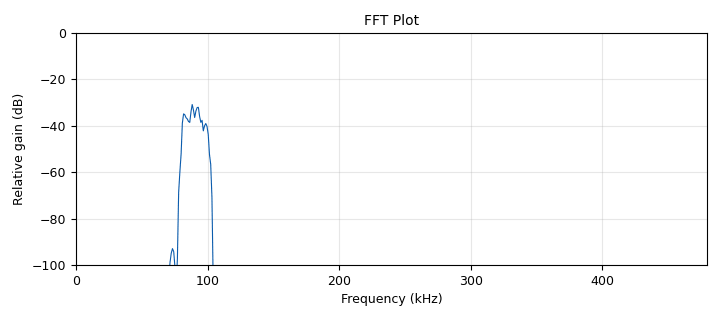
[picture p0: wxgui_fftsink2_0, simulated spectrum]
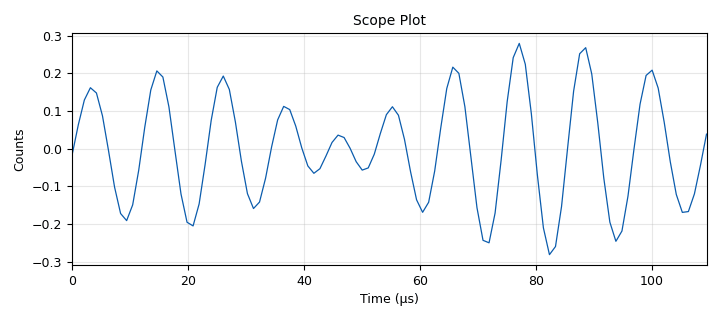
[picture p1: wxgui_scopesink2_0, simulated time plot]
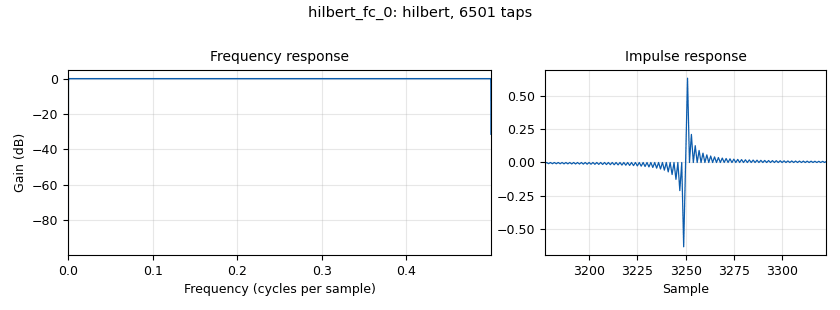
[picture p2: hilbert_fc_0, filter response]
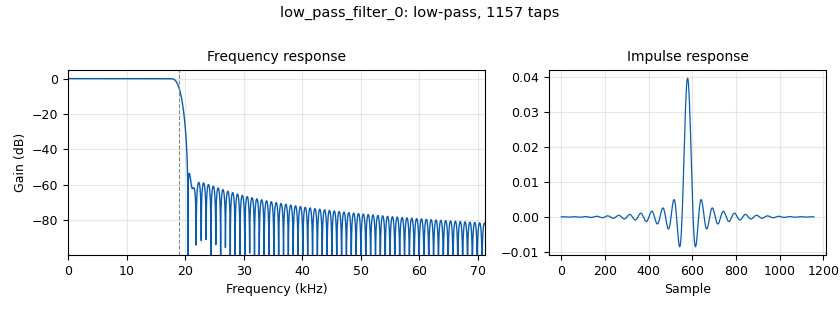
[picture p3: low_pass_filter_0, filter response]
<?xml version='1.0' encoding='utf-8'?>
<?grc format='1' created='3.7.9'?>
<flow_graph>
<block>
<key>options</key>
<param><key>id</key><value>top_block</value></param>
<param><key>category</key><value>Custom</value></param>
<param><key>generate_options</key><value>wx_gui</value></param>
</block>
<block>
<key>variable</key>
<param><key>id</key><value>carrier_f</value></param>
<param><key>value</key><value>100e3</value></param>
</block>
<block>
<key>variable</key>
<param><key>id</key><value>samp_rate</value></param>
<param><key>value</key><value>960000</value></param>
</block>
<block>
<key>analog_noise_source_x</key>
<param><key>id</key><value>analog_noise_source_x_0</value></param>
<param><key>amp</key><value>1</value></param>
<param><key>noise_type</key><value>analog.GR_GAUSSIAN</value></param>
<param><key>type</key><value>complex</value></param>
<param><key>seed</key><value>0</value></param>
</block>
<block>
<key>analog_sig_source_x</key>
<param><key>id</key><value>analog_sig_source_x_0</value></param>
<param><key>amp</key><value>1</value></param>
<param><key>freq</key><value>carrier_f</value></param>
<param><key>offset</key><value>0</value></param>
<param><key>type</key><value>float</value></param>
<param><key>samp_rate</key><value>samp_rate</value></param>
<param><key>waveform</key><value>analog.GR_COS_WAVE</value></param>
</block>
<block>
<key>analog_sig_source_x</key>
<param><key>id</key><value>analog_sig_source_x_1</value></param>
<param><key>amp</key><value>1</value></param>
<param><key>freq</key><value>carrier_f</value></param>
<param><key>offset</key><value>0</value></param>
<param><key>type</key><value>float</value></param>
<param><key>samp_rate</key><value>samp_rate</value></param>
<param><key>waveform</key><value>analog.GR_SIN_WAVE</value></param>
</block>
<block>
<key>blocks_add_xx</key>
<param><key>id</key><value>blocks_add_xx_0</value></param>
<param><key>type</key><value>float</value></param>
</block>
<block>
<key>blocks_complex_to_float</key>
<param><key>id</key><value>blocks_complex_to_float_0</value></param>
</block>
<block>
<key>blocks_complex_to_float</key>
<param><key>id</key><value>blocks_complex_to_float_1</value></param>
</block>
<block>
<key>blocks_multiply_xx</key>
<param><key>id</key><value>blocks_multiply_xx_0</value></param>
<param><key>type</key><value>float</value></param>
</block>
<block>
<key>blocks_multiply_xx</key>
<param><key>id</key><value>blocks_multiply_xx_1</value></param>
<param><key>type</key><value>float</value></param>
</block>
<block>
<key>hilbert_fc</key>
<param><key>id</key><value>hilbert_fc_0</value></param>
<param><key>num_taps</key><value>6500</value></param>
<param><key>win</key><value>firdes.WIN_HAMMING</value></param>
</block>
<block>
<key>low_pass_filter</key>
<param><key>id</key><value>low_pass_filter_0</value></param>
<param><key>cutoff_freq</key><value>19e3</value></param>
<param><key>decim</key><value>1</value></param>
<param><key>type</key><value>fir_filter_ccf</value></param>
<param><key>gain</key><value>1</value></param>
<param><key>samp_rate</key><value>samp_rate</value></param>
<param><key>width</key><value>2e3</value></param>
<param><key>win</key><value>firdes.WIN_HAMMING</value></param>
</block>
<block>
<key>notebook</key>
<param><key>id</key><value>notebook_0</value></param>
<param><key>labels</key><value>['scope', 'fft']</value></param>
<param><key>style</key><value>wx.NB_TOP</value></param>
</block>
<block>
<key>wxgui_fftsink2</key>
<param><key>id</key><value>wxgui_fftsink2_0</value></param>
<param><key>avg_alpha</key><value>0</value></param>
<param><key>average</key><value>False</value></param>
<param><key>baseband_freq</key><value>0</value></param>
<param><key>fft_size</key><value>1024</value></param>
<param><key>freqvar</key><value>None</value></param>
<param><key>notebook</key><value>notebook_0,1</value></param>
<param><key>peak_hold</key><value>False</value></param>
<param><key>ref_level</key><value>0</value></param>
<param><key>ref_scale</key><value>2.0</value></param>
<param><key>fft_rate</key><value>15</value></param>
<param><key>samp_rate</key><value>samp_rate</value></param>
<param><key>title</key><value>FFT Plot</value></param>
<param><key>type</key><value>float</value></param>
<param><key>win</key><value>window.flattop</value></param>
<param><key>y_divs</key><value>10</value></param>
<param><key>y_per_div</key><value>10</value></param>
</block>
<block>
<key>wxgui_scopesink2</key>
<param><key>id</key><value>wxgui_scopesink2_0</value></param>
<param><key>ac_couple</key><value>False</value></param>
<param><key>notebook</key><value>notebook_0,0</value></param>
<param><key>num_inputs</key><value>1</value></param>
<param><key>samp_rate</key><value>samp_rate</value></param>
<param><key>t_scale</key><value>0</value></param>
<param><key>title</key><value>Scope Plot</value></param>
<param><key>trig_mode</key><value>wxgui.TRIG_MODE_AUTO</value></param>
<param><key>type</key><value>float</value></param>
<param><key>v_offset</key><value>0</value></param>
<param><key>v_scale</key><value>0</value></param>
<param><key>xy_mode</key><value>False</value></param>
<param><key>y_axis_label</key><value>Counts</value></param>
</block>
<connection><source_block_id>analog_noise_source_x_0</source_block_id><sink_block_id>low_pass_filter_0</sink_block_id><source_key>0</source_key><sink_key>0</sink_key></connection>
<connection><source_block_id>analog_sig_source_x_0</source_block_id><sink_block_id>blocks_multiply_xx_0</sink_block_id><source_key>0</source_key><sink_key>0</sink_key></connection>
<connection><source_block_id>analog_sig_source_x_1</source_block_id><sink_block_id>blocks_multiply_xx_1</sink_block_id><source_key>0</source_key><sink_key>1</sink_key></connection>
<connection><source_block_id>blocks_add_xx_0</source_block_id><sink_block_id>wxgui_fftsink2_0</sink_block_id><source_key>0</source_key><sink_key>0</sink_key></connection>
<connection><source_block_id>blocks_add_xx_0</source_block_id><sink_block_id>wxgui_scopesink2_0</sink_block_id><source_key>0</source_key><sink_key>0</sink_key></connection>
<connection><source_block_id>blocks_complex_to_float_0</source_block_id><sink_block_id>blocks_multiply_xx_1</sink_block_id><source_key>1</source_key><sink_key>0</sink_key></connection>
<connection><source_block_id>blocks_complex_to_float_0</source_block_id><sink_block_id>blocks_multiply_xx_0</sink_block_id><source_key>0</source_key><sink_key>1</sink_key></connection>
<connection><source_block_id>blocks_complex_to_float_1</source_block_id><sink_block_id>hilbert_fc_0</sink_block_id><source_key>0</source_key><sink_key>0</sink_key></connection>
<connection><source_block_id>blocks_multiply_xx_0</source_block_id><sink_block_id>blocks_add_xx_0</sink_block_id><source_key>0</source_key><sink_key>0</sink_key></connection>
<connection><source_block_id>blocks_multiply_xx_1</source_block_id><sink_block_id>blocks_add_xx_0</sink_block_id><source_key>0</source_key><sink_key>1</sink_key></connection>
<connection><source_block_id>hilbert_fc_0</source_block_id><sink_block_id>blocks_complex_to_float_0</sink_block_id><source_key>0</source_key><sink_key>0</sink_key></connection>
<connection><source_block_id>low_pass_filter_0</source_block_id><sink_block_id>blocks_complex_to_float_1</sink_block_id><source_key>0</source_key><sink_key>0</sink_key></connection>
</flow_graph>
